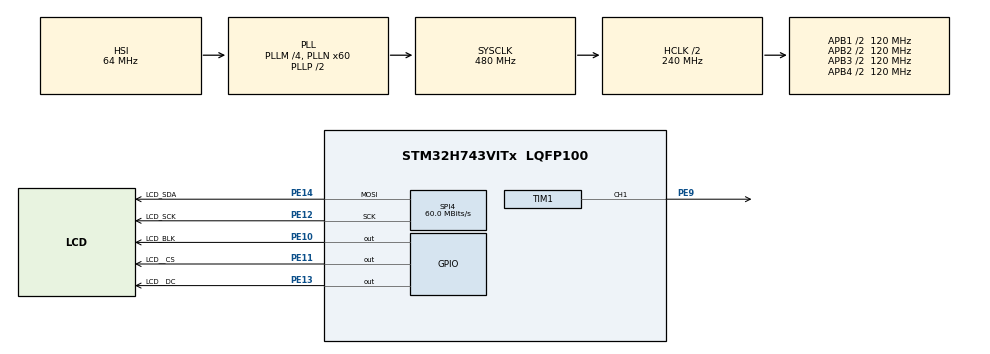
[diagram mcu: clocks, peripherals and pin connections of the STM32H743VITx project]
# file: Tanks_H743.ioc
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CORTEX_M7.AccessPermission_S-Cortex_Memory_Protection_Unit_Region1_Settings_S=MPU_REGION_PRIV_RO
CORTEX_M7.AccessPermission_S-Cortex_Memory_Protection_Unit_Region2_Settings_S=MPU_REGION_FULL_ACCESS
CORTEX_M7.AccessPermission_S-Cortex_Memory_Protection_Unit_Region3_Settings_S=MPU_REGION_FULL_ACCESS
CORTEX_M7.AccessPermission_S-Cortex_Memory_Protection_Unit_Region4_Settings_S=MPU_REGION_FULL_ACCESS
CORTEX_M7.AccessPermission_S-Cortex_Memory_Protection_Unit_Region5_Settings_S=MPU_REGION_FULL_ACCESS
CORTEX_M7.BaseAddress_S-Cortex_Memory_Protection_Unit_Region1_Settings_S=0x08000000
CORTEX_M7.BaseAddress_S-Cortex_Memory_Protection_Unit_Region2_Settings_S=0x20000000
CORTEX_M7.BaseAddress_S-Cortex_Memory_Protection_Unit_Region3_Settings_S=0x24000000
CORTEX_M7.BaseAddress_S-Cortex_Memory_Protection_Unit_Region4_Settings_S=0x28000000
CORTEX_M7.BaseAddress_S-Cortex_Memory_Protection_Unit_Region5_Settings_S=0x30000000
CORTEX_M7.DisableExec_S-Cortex_Memory_Protection_Unit_Region2_Settings_S=MPU_INSTRUCTION_ACCESS_DISABLE
CORTEX_M7.Enable_S-Cortex_Memory_Protection_Unit_Region1_Settings_S=MPU_REGION_ENABLE
CORTEX_M7.Enable_S-Cortex_Memory_Protection_Unit_Region2_Settings_S=MPU_REGION_ENABLE
CORTEX_M7.Enable_S-Cortex_Memory_Protection_Unit_Region3_Settings_S=MPU_REGION_ENABLE
CORTEX_M7.Enable_S-Cortex_Memory_Protection_Unit_Region4_Settings_S=MPU_REGION_ENABLE
CORTEX_M7.Enable_S-Cortex_Memory_Protection_Unit_Region5_Settings_S=MPU_REGION_ENABLE
CORTEX_M7.IsCacheable_S-Cortex_Memory_Protection_Unit_Region1_Settings_S=MPU_ACCESS_CACHEABLE
CORTEX_M7.Number_S-Cortex_Memory_Protection_Unit_Region10_Settings_S=MPU_REGION_NUMBER10
CORTEX_M7.Number_S-Cortex_Memory_Protection_Unit_Region11_Settings_S=MPU_REGION_NUMBER11
CORTEX_M7.Number_S-Cortex_Memory_Protection_Unit_Region12_Settings_S=MPU_REGION_NUMBER12
CORTEX_M7.Number_S-Cortex_Memory_Protection_Unit_Region13_Settings_S=MPU_REGION_NUMBER13
CORTEX_M7.Number_S-Cortex_Memory_Protection_Unit_Region2_Settings_S=MPU_REGION_NUMBER2
CORTEX_M7.Number_S-Cortex_Memory_Protection_Unit_Region3_Settings_S=MPU_REGION_NUMBER3
CORTEX_M7.Number_S-Cortex_Memory_Protection_Unit_Region4_Settings_S=MPU_REGION_NUMBER4
CORTEX_M7.Number_S-Cortex_Memory_Protection_Unit_Region5_Settings_S=MPU_REGION_NUMBER5
CORTEX_M7.Number_S-Cortex_Memory_Protection_Unit_Region6_Settings_S=MPU_REGION_NUMBER6
CORTEX_M7.Number_S-Cortex_Memory_Protection_Unit_Region7_Settings_S=MPU_REGION_NUMBER7
CORTEX_M7.Number_S-Cortex_Memory_Protection_Unit_Region8_Settings_S=MPU_REGION_NUMBER8
CORTEX_M7.Number_S-Cortex_Memory_Protection_Unit_Region9_Settings_S=MPU_REGION_NUMBER9
CORTEX_M7.Size_S-Cortex_Memory_Protection_Unit_Region1_Settings_S=MPU_REGION_SIZE_2MB
CORTEX_M7.Size_S-Cortex_Memory_Protection_Unit_Region2_Settings_S=MPU_REGION_SIZE_128KB
CORTEX_M7.Size_S-Cortex_Memory_Protection_Unit_Region3_Settings_S=MPU_REGION_SIZE_64MB
CORTEX_M7.Size_S-Cortex_Memory_Protection_Unit_Region4_Settings_S=MPU_REGION_SIZE_128MB
CORTEX_M7.Size_S-Cortex_Memory_Protection_Unit_Region5_Settings_S=MPU_REGION_SIZE_256MB
CORTEX_M7.SubRegionDisable_S-Cortex_Memory_Protection_Unit_Region3_Settings_S=0xFE
CORTEX_M7.SubRegionDisable_S-Cortex_Memory_Protection_Unit_Region4_Settings_S=0xFF
CORTEX_M7.SubRegionDisable_S-Cortex_Memory_Protection_Unit_Region5_Settings_S=0xEE
CORTEX_M7.TypeExtField_S-Cortex_Memory_Protection_Unit_Region1_Settings_S=MPU_TEX_LEVEL1
CORTEX_M7.TypeExtField_S-Cortex_Memory_Protection_Unit_Region2_Settings_S=MPU_TEX_LEVEL1
CORTEX_M7.TypeExtField_S-Cortex_Memory_Protection_Unit_Region3_Settings_S=MPU_TEX_LEVEL1
CORTEX_M7.TypeExtField_S-Cortex_Memory_Protection_Unit_Region4_Settings_S=MPU_TEX_LEVEL1
CORTEX_M7.TypeExtField_S-Cortex_Memory_Protection_Unit_Region5_Settings_S=MPU_TEX_LEVEL1
CORTEX_M7.default_mode_Activation=1
Dma.Request0=SPI4_TX
Dma.SPI4_TX.0.Direction=DMA_MEMORY_TO_PERIPH
Dma.SPI4_TX.0.EventEnable=DISABLE
Dma.SPI4_TX.0.FIFOMode=DMA_FIFOMODE_ENABLE
Dma.SPI4_TX.0.FIFOThreshold=DMA_FIFO_THRESHOLD_FULL
Dma.SPI4_TX.0.Instance=DMA1_Stream0
Dma.SPI4_TX.0.MemBurst=DMA_MBURST_INC4
Dma.SPI4_TX.0.MemDataAlignment=DMA_MDATAALIGN_HALFWORD
Dma.SPI4_TX.0.MemInc=DMA_MINC_ENABLE
Dma.SPI4_TX.0.Mode=DMA_NORMAL
Dma.SPI4_TX.0.PeriphBurst=DMA_PBURST_SINGLE
Dma.SPI4_TX.0.PeriphDataAlignment=DMA_PDATAALIGN_HALFWORD
Dma.SPI4_TX.0.PeriphInc=DMA_PINC_DISABLE
Dma.SPI4_TX.0.Polarity=HAL_DMAMUX_REQ_GEN_RISING
Dma.SPI4_TX.0.Priority=DMA_PRIORITY_LOW
Dma.SPI4_TX.0.RequestNumber=1
Dma.SPI4_TX.0.SignalID=NONE
Dma.SPI4_TX.0.SyncEnable=DISABLE
Dma.SPI4_TX.0.SyncPolarity=HAL_DMAMUX_SYNC_NO_EVENT
Dma.SPI4_TX.0.SyncRequestNumber=1
Dma.SPI4_TX.0.SyncSignalID=NONE
Mcu.Family=STM32H7
Mcu.Name=STM32H743VITx
Mcu.Package=LQFP100
NVIC.DMA1_Stream0_IRQn=true\:0\:0\:false\:false\:true\:false\:true\:true
NVIC.PriorityGroup=NVIC_PRIORITYGROUP_4
NVIC.SPI4_IRQn=true\:0\:0\:false\:false\:true\:false\:true\:true
PE10.GPIO_Label=LCD_BLK
PE10.PinState=GPIO_PIN_RESET
PE10.Signal=GPIO_Output
PE11.GPIO_Label=LCD__CS
PE11.Signal=GPIO_Output
PE12.GPIO_Label=LCD_SCK
PE12.GPIO_Speed=GPIO_SPEED_FREQ_VERY_HIGH
PE12.Mode=TX_Only_Simplex_Unidirect_Master
PE12.Signal=SPI4_SCK
PE13.GPIO_Label=LCD__DC
PE13.Signal=GPIO_Output
PE14.GPIO_Label=LCD_SDA
PE14.GPIO_Speed=GPIO_SPEED_FREQ_VERY_HIGH
PE14.Mode=TX_Only_Simplex_Unidirect_Master
PE14.Signal=SPI4_MOSI
PE9.Signal=S_TIM1_CH1
ProjectManager.HeapSize=0x200
ProjectManager.StackSize=0x400
ProjectManager.TargetToolchain=CMake
RCC.ADCFreq_Value=129000000
RCC.APB1Freq_Value=120000000
RCC.APB2Freq_Value=120000000
RCC.APB3Freq_Value=120000000
RCC.APB4Freq_Value=120000000
RCC.CortexFreq_Value=480000000
RCC.D1PPRE=RCC_APB3_DIV2
RCC.D2PPRE1=RCC_APB1_DIV2
RCC.D2PPRE2=RCC_APB2_DIV2
RCC.D3PPRE=RCC_APB4_DIV2
RCC.DIVM1=4
RCC.DIVN1=60
RCC.HCLKFreq_Value=240000000
RCC.HPRE=RCC_HCLK_DIV2
RCC.PLL2FRACN=0
RCC.PLL3FRACN=0
RCC.PLLFRACN=0
RCC.SYSCLKFreq_VALUE=480000000
RCC.SYSCLKSource=RCC_SYSCLKSOURCE_PLLCLK
RCC.USBFreq_Value=480000000
SH.S_TIM1_CH1.0=TIM1_CH1,PWM Generation1 CH1
SPI4.BaudRatePrescaler=SPI_BAUDRATEPRESCALER_2
SPI4.CLKPhase=SPI_PHASE_1EDGE
SPI4.CLKPolarity=SPI_POLARITY_LOW
SPI4.CalculateBaudRate=60.0 MBits/s
SPI4.DataSize=SPI_DATASIZE_8BIT
SPI4.Direction=SPI_DIRECTION_2LINES_TXONLY
SPI4.FifoThreshold=SPI_FIFO_THRESHOLD_02DATA
SPI4.Mode=SPI_MODE_MASTER
SPI4.NSSPMode=SPI_NSS_PULSE_DISABLE
SPI4.VirtualType=VM_MASTER
TIM1.Channel-PWM\ Generation1\ CH1=TIM_CHANNEL_1
VP_MEMORYMAP_VS_MEMORYMAP.Mode=CurAppReg
VP_TIM1_VS_ClockSourceINT.Mode=Internal
board=custom

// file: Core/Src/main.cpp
/* USER CODE BEGIN Header */
/**
  ******************************************************************************
  * @file           : main.c
  * @brief          : Main program body
  ******************************************************************************
  * @attention
  *
  * Copyright (c) 2026 STMicroelectronics.
  * All rights reserved.
  *
  * This software is licensed under terms that can be found in the LICENSE file
  * in the root directory of this software component.
  * If no LICENSE file comes with this software, it is provided AS-IS.
  *
  ******************************************************************************
  */
/* USER CODE END Header */
#include "main.h"
#include "dma.h"
#include "spi.h"
#include "tim.h"
#include "gpio.h"

/* USER CODE BEGIN Includes */
#include "game.hpp"
#include "st7735.hpp"
#include "assets.hpp" /* disp_clear_160x16, the CLEAR_IMG of the alias below */
/* USER CODE END Includes */

/* USER CODE BEGIN PTD */
/* The boot-clear strip asset lives in Game assets.cpp (disp_clear_160x16,
 * defined under STM32H743xx); the alias below takes its address as
 * CLEAR_IMG. CLEAR_ROWS 16 = 5 prints per init, one DMA engagement
 * per print. */

/* The display of this platform: SPI4 (TX-only, DMA TX), WeAct module
 * on ST7735, native geometry 80x160 portrait. CS is wired (PE11) but
 * the bus is the panel's own - single_device, the line is picked
 * once in init() and never touched again. The module has no RST line
 * wired - the rst_* parameters are 0. Black-tab panel (drk):
 * portrait window offset 26/1.
 *
 * The wiring is the template parameter list now: the ports as the
 * raw GPIOE_BASE integer addresses, the handle as a real pointer NTP
 * (&hspi4), pins as GPIO_PIN_n. The MY|MV flags fold the MADCTL byte
 * and swap the geometry sides (26/1 -> 1/26): the panel goes from
 * portrait 80x160 to landscape 160x80 - everything is compile-time. */
using Lcd = ST7735<&hspi4,
       GPIOE_BASE, LCD__DC_Pin,        /* DC: PE13 */
       GPIOE_BASE, LCD__CS_Pin, true,  /* CS: PE11, the bus is the panel's own */
       0,          0,                  /* the module has no RST wired */
       st_80x160_drk,
       true, false, true, false,       /* MY | MX | MV | BGR */
       &disp_clear_160x16[0], 16>;     /* boot-clear strip: 160x16, 5 prints */
/* USER CODE END PTD */

void SystemClock_Config(void);
static void MPU_Config(void);

int main(void)
{

  /* MPU Configuration--------------------------------------------------------*/
  MPU_Config();

  /* MCU Configuration--------------------------------------------------------*/

  /* Reset of all peripherals, Initializes the Flash interface and the Systick. */
  HAL_Init();

  /* USER CODE BEGIN Init */
  /* Instruction cache: armed after MPU_Config (flash region 1 is the
   * C=1 cacheable one), before the system clock and any IRQ user.
   * Fetch from flash pays 4 WS on a miss (FLASH_LATENCY_4 @ 240 MHz
   * HCLK), a hit is 0 WS. Firmware is immutable at runtime - no
   * dirty lines, no coherency chores, the fallback is one
   * SCB_DisableICache() line. D-cache stays off on purpose: the DMA1
   * sources are flash consts, the live data is the non-cacheable AXI
   * RAM region - there is nothing for it to hold. */
  SCB_EnableICache();
  /* USER CODE END Init */

  /* Configure the system clock */
  SystemClock_Config();

  /* Initialize all configured peripherals */
  MX_GPIO_Init();
  MX_DMA_Init();
  MX_SPI4_Init();
  MX_TIM1_Init();
  /* USER CODE BEGIN 2 */
  Lcd lcd;

  /* The Game is typed to this exact driver instantiation: the pools
   * blit through its static print path, the lifecycle goes to this
   * object. */
  GameT game(lcd);

  /* Backlight: PE10 (LCD_BLK) is LEFT LOW - as the reference project
   * does while its panel is lit. This wiring keeps the backlight on
   * with the pin in the reset state; driving it HIGH extinguishes the
   * panel (do not touch the pin). */

  game.init();
  /* USER CODE END 2 */

  /* Infinite loop */
  /* USER CODE BEGIN WHILE */
  while (1)
  {
    HAL_Delay(15);

    game.loop();
    /* USER CODE END WHILE */

    /* USER CODE BEGIN 3 */
  }
  return 0;
  /* USER CODE END 3 */
}

void SystemClock_Config(void)
{
  RCC_OscInitTypeDef RCC_OscInitStruct = {0};
  RCC_ClkInitTypeDef RCC_ClkInitStruct = {0};

  /** Supply configuration update enable
  */
  HAL_PWREx_ConfigSupply(PWR_LDO_SUPPLY);

  /** Configure the main internal regulator output voltage
  */
  __HAL_PWR_VOLTAGESCALING_CONFIG(PWR_REGULATOR_VOLTAGE_SCALE0);

  while(!__HAL_PWR_GET_FLAG(PWR_FLAG_VOSRDY)) {}

  /** Initializes the RCC Oscillators according to the specified parameters
  * in the RCC_OscInitTypeDef structure.
  */
  RCC_OscInitStruct.OscillatorType = RCC_OSCILLATORTYPE_HSI;
  RCC_OscInitStruct.HSIState = RCC_HSI_DIV1;
  RCC_OscInitStruct.HSICalibrationValue = RCC_HSICALIBRATION_DEFAULT;
  RCC_OscInitStruct.PLL.PLLState = RCC_PLL_ON;
  RCC_OscInitStruct.PLL.PLLSource = RCC_PLLSOURCE_HSI;
  RCC_OscInitStruct.PLL.PLLM = 4;
  RCC_OscInitStruct.PLL.PLLN = 60;
  RCC_OscInitStruct.PLL.PLLP = 2;
  RCC_OscInitStruct.PLL.PLLQ = 2;
  RCC_OscInitStruct.PLL.PLLR = 2;
  RCC_OscInitStruct.PLL.PLLRGE = RCC_PLL1VCIRANGE_3;
  RCC_OscInitStruct.PLL.PLLVCOSEL = RCC_PLL1VCOWIDE;
  RCC_OscInitStruct.PLL.PLLFRACN = 0;
  if (HAL_RCC_OscConfig(&RCC_OscInitStruct) != HAL_OK)
  {
    Error_Handler();
  }

  /** Initializes the CPU, AHB and APB buses clocks
  */
  RCC_ClkInitStruct.ClockType = RCC_CLOCKTYPE_HCLK|RCC_CLOCKTYPE_SYSCLK
                              |RCC_CLOCKTYPE_PCLK1|RCC_CLOCKTYPE_PCLK2
                              |RCC_CLOCKTYPE_D3PCLK1|RCC_CLOCKTYPE_D1PCLK1;
  RCC_ClkInitStruct.SYSCLKSource = RCC_SYSCLKSOURCE_PLLCLK;
  RCC_ClkInitStruct.SYSCLKDivider = RCC_SYSCLK_DIV1;
  RCC_ClkInitStruct.AHBCLKDivider = RCC_HCLK_DIV2;
  RCC_ClkInitStruct.APB3CLKDivider = RCC_APB3_DIV2;
  RCC_ClkInitStruct.APB1CLKDivider = RCC_APB1_DIV2;
  RCC_ClkInitStruct.APB2CLKDivider = RCC_APB2_DIV2;
  RCC_ClkInitStruct.APB4CLKDivider = RCC_APB4_DIV2;

  if (HAL_RCC_ClockConfig(&RCC_ClkInitStruct, FLASH_LATENCY_4) != HAL_OK)
  {
    Error_Handler();
  }
}

 /* MPU Configuration */

void MPU_Config(void)
{
  MPU_Region_InitTypeDef MPU_InitStruct = {0};

  /* Disables the MPU */
  HAL_MPU_Disable();

  /** Initializes and configures the Region and the memory to be protected
  */
  MPU_InitStruct.Enable = MPU_REGION_ENABLE;
  MPU_InitStruct.Number = MPU_REGION_NUMBER0;
  MPU_InitStruct.BaseAddress = 0x0;
  MPU_InitStruct.Size = MPU_REGION_SIZE_4GB;
  MPU_InitStruct.SubRegionDisable = 0x87;
  MPU_InitStruct.TypeExtField = MPU_TEX_LEVEL0;
  MPU_InitStruct.AccessPermission = MPU_REGION_NO_ACCESS;
  MPU_InitStruct.DisableExec = MPU_INSTRUCTION_ACCESS_DISABLE;
  MPU_InitStruct.IsShareable = MPU_ACCESS_SHAREABLE;
  MPU_InitStruct.IsCacheable = MPU_ACCESS_NOT_CACHEABLE;
  MPU_InitStruct.IsBufferable = MPU_ACCESS_NOT_BUFFERABLE;

  HAL_MPU_ConfigRegion(&MPU_InitStruct);

  /** Initializes and configures the Region and the memory to be protected
  */
  MPU_InitStruct.Number = MPU_REGION_NUMBER1;
  MPU_InitStruct.BaseAddress = 0x08000000;
  MPU_InitStruct.Size = MPU_REGION_SIZE_2MB;
  MPU_InitStruct.SubRegionDisable = 0x0;
  MPU_InitStruct.TypeExtField = MPU_TEX_LEVEL1;
  MPU_InitStruct.AccessPermission = MPU_REGION_PRIV_RO;
  MPU_InitStruct.DisableExec = MPU_INSTRUCTION_ACCESS_ENABLE;
  MPU_InitStruct.IsShareable = MPU_ACCESS_NOT_SHAREABLE;
  MPU_InitStruct.IsCacheable = MPU_ACCESS_CACHEABLE;

  HAL_MPU_ConfigRegion(&MPU_InitStruct);

  /** Initializes and configures the Region to be protected
  */
  MPU_InitStruct.Number = MPU_REGION_NUMBER2;
  MPU_InitStruct.BaseAddress = 0x20000000;
  MPU_InitStruct.Size = MPU_REGION_SIZE_128KB;
  MPU_InitStruct.SubRegionDisable = 0x0;
  MPU_InitStruct.TypeExtField = MPU_TEX_LEVEL1;
  MPU_InitStruct.AccessPermission = MPU_REGION_FULL_ACCESS;
  MPU_InitStruct.IsShareable = MPU_ACCESS_NOT_SHAREABLE;
  MPU_InitStruct.IsCacheable = MPU_ACCESS_NOT_CACHEABLE;
  MPU_InitStruct.IsBufferable = MPU_ACCESS_NOT_BUFFERABLE;
  MPU_InitStruct.DisableExec = MPU_INSTRUCTION_ACCESS_DISABLE;

  HAL_MPU_ConfigRegion(&MPU_InitStruct);

  /** Initializes and configures the Region and the memory to be protected
  */
  MPU_InitStruct.Number = MPU_REGION_NUMBER3;
  MPU_InitStruct.BaseAddress = 0x24000000;
  MPU_InitStruct.Size = MPU_REGION_SIZE_64MB;
  MPU_InitStruct.SubRegionDisable = 0xFE;
  MPU_InitStruct.TypeExtField = MPU_TEX_LEVEL1;

  HAL_MPU_ConfigRegion(&MPU_InitStruct);

  /** Initializes and configures the Region and the memory to be protected
  */
  MPU_InitStruct.Number = MPU_REGION_NUMBER4;
  MPU_InitStruct.BaseAddress = 0x28000000;
  MPU_InitStruct.Size = MPU_REGION_SIZE_128MB;
  MPU_InitStruct.SubRegionDisable = 0xFF;

  HAL_MPU_ConfigRegion(&MPU_InitStruct);

  /** Initializes and configures the Region and the memory to be protected
  */
  MPU_InitStruct.Number = MPU_REGION_NUMBER5;
  MPU_InitStruct.BaseAddress = 0x30000000;
  MPU_InitStruct.Size = MPU_REGION_SIZE_256MB;
  MPU_InitStruct.SubRegionDisable = 0xEE;

  HAL_MPU_ConfigRegion(&MPU_InitStruct);
  /* Enables the MPU */
  HAL_MPU_Enable(MPU_PRIVILEGED_DEFAULT);

}

void Error_Handler(void)
{
  __disable_irq();
  while (1)
  {
  }
}
